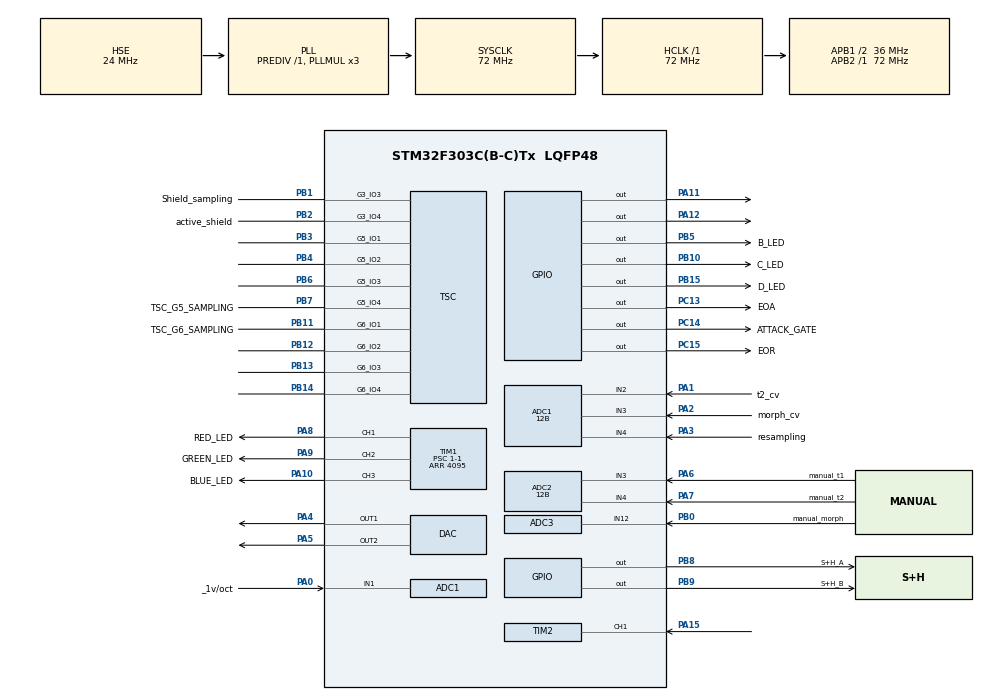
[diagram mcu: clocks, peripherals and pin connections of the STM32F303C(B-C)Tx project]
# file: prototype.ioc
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ADC1.Channel-0\#ChannelRegularConversion=ADC_CHANNEL_1
ADC1.Channel-1\#ChannelRegularConversion=ADC_CHANNEL_2
ADC1.Channel-2\#ChannelRegularConversion=ADC_CHANNEL_3
ADC1.Channel-4\#ChannelRegularConversion=ADC_CHANNEL_4
ADC1.ClockPrescaler=ADC_CLOCK_ASYNC_DIV1
ADC1.ContinuousConvMode=ENABLE
ADC1.DMAContinuousRequests=ENABLE
ADC1.DataAlign=ADC_DATAALIGN_RIGHT
ADC1.DiscontinuousConvMode=DISABLE
ADC1.EOCSelection=ADC_EOC_SEQ_CONV
ADC1.EnableAnalogWatchDog1=false
ADC1.EnableAnalogWatchDog2=false
ADC1.EnableAnalogWatchDog3=false
ADC1.EnableInjectedConversion=DISABLE
ADC1.EnableRegularConversion=ENABLE
ADC1.ExternalTrigConv=ADC_SOFTWARE_START
ADC1.ExternalTrigConvEdge=ADC_EXTERNALTRIGCONVEDGE_NONE
ADC1.LowPowerAutoWait=DISABLE
ADC1.NbrOfConversion=4
ADC1.NbrOfConversionFlag=1
ADC1.Offset-0\#ChannelRegularConversion=0
ADC1.Offset-1\#ChannelRegularConversion=0
ADC1.Offset-2\#ChannelRegularConversion=0
ADC1.Offset-4\#ChannelRegularConversion=0
ADC1.OffsetNumber-0\#ChannelRegularConversion=ADC_OFFSET_NONE
ADC1.OffsetNumber-1\#ChannelRegularConversion=ADC_OFFSET_NONE
ADC1.OffsetNumber-2\#ChannelRegularConversion=ADC_OFFSET_NONE
ADC1.OffsetNumber-4\#ChannelRegularConversion=ADC_OFFSET_NONE
ADC1.Overrun=ADC_OVR_DATA_OVERWRITTEN
ADC1.Rank-0\#ChannelRegularConversion=1
ADC1.Rank-1\#ChannelRegularConversion=2
ADC1.Rank-2\#ChannelRegularConversion=3
ADC1.Rank-4\#ChannelRegularConversion=4
ADC1.Resolution=ADC_RESOLUTION_12B
ADC1.SamplingTime-0\#ChannelRegularConversion=ADC_SAMPLETIME_181CYCLES_5
ADC1.SamplingTime-1\#ChannelRegularConversion=ADC_SAMPLETIME_181CYCLES_5
ADC1.SamplingTime-2\#ChannelRegularConversion=ADC_SAMPLETIME_181CYCLES_5
ADC1.SamplingTime-4\#ChannelRegularConversion=ADC_SAMPLETIME_181CYCLES_5
ADC1.ScanConvMode=ADC_SCAN_ENABLE
ADC1.master=1
ADC2.Channel-0\#ChannelRegularConversion=ADC_CHANNEL_3
ADC2.Channel-1\#ChannelRegularConversion=ADC_CHANNEL_4
ADC2.ClockPrescaler=ADC_CLOCK_ASYNC_DIV1
ADC2.ContinuousConvMode=ENABLE
ADC2.DMAContinuousRequests=ENABLE
ADC2.DataAlign=ADC_DATAALIGN_RIGHT
ADC2.DiscontinuousConvMode=DISABLE
ADC2.EOCSelection=ADC_EOC_SEQ_CONV
ADC2.EnableAnalogWatchDog1=false
ADC2.EnableAnalogWatchDog2=false
ADC2.EnableAnalogWatchDog3=false
ADC2.EnableInjectedConversion=ENABLE
ADC2.EnableRegularConversion=ENABLE
ADC2.ExternalTrigConv=ADC_SOFTWARE_START
ADC2.ExternalTrigConvEdge=ADC_EXTERNALTRIGCONVEDGE_NONE
ADC2.InjNumberOfConversion=0
ADC2.LowPowerAutoWait=DISABLE
ADC2.NbrOfConversion=2
ADC2.NbrOfConversionFlag=1
ADC2.Offset-0\#ChannelRegularConversion=0
ADC2.Offset-1\#ChannelRegularConversion=0
ADC2.OffsetNumber-0\#ChannelRegularConversion=ADC_OFFSET_NONE
ADC2.OffsetNumber-1\#ChannelRegularConversion=ADC_OFFSET_1
ADC2.Overrun=ADC_OVR_DATA_OVERWRITTEN
ADC2.Rank-0\#ChannelRegularConversion=1
ADC2.Rank-1\#ChannelRegularConversion=2
ADC2.Resolution=ADC_RESOLUTION_12B
ADC2.SamplingTime-0\#ChannelRegularConversion=ADC_SAMPLETIME_61CYCLES_5
ADC2.SamplingTime-1\#ChannelRegularConversion=ADC_SAMPLETIME_61CYCLES_5
ADC2.ScanConvMode=ADC_SCAN_ENABLE
ADC3.Channel-106\#ChannelRegularConversion=ADC_CHANNEL_12
ADC3.ClockPrescaler=ADC_CLOCK_ASYNC_DIV1
ADC3.ContinuousConvMode=ENABLE
ADC3.DMAContinuousRequests=ENABLE
ADC3.DataAlign=ADC_DATAALIGN_RIGHT
ADC3.DiscontinuousConvMode=DISABLE
ADC3.EOCSelection=ADC_EOC_SINGLE_CONV
ADC3.EnableAnalogWatchDog1=false
ADC3.EnableAnalogWatchDog2=false
ADC3.EnableAnalogWatchDog3=false
ADC3.EnableInjectedConversion=DISABLE
ADC3.EnableRegularConversion=ENABLE
ADC3.ExternalTrigConv=ADC_SOFTWARE_START
ADC3.ExternalTrigConvEdge=ADC_EXTERNALTRIGCONVEDGE_NONE
ADC3.LowPowerAutoWait=DISABLE
ADC3.NbrOfConversion=1
ADC3.NbrOfConversionFlag=1
ADC3.Offset-106\#ChannelRegularConversion=0
ADC3.OffsetNumber-106\#ChannelRegularConversion=ADC_OFFSET_NONE
ADC3.Overrun=ADC_OVR_DATA_OVERWRITTEN
ADC3.Rank-106\#ChannelRegularConversion=1
ADC3.Resolution=ADC_RESOLUTION_12B
ADC3.SamplingTime-106\#ChannelRegularConversion=ADC_SAMPLETIME_61CYCLES_5
ADC3.ScanConvMode=ADC_SCAN_DISABLE
ADC3.master=1
DAC.DAC_OutputBuffer=DAC_OUTPUTBUFFER_DISABLE
DAC.DAC_OutputBuffer2=DAC_OUTPUTBUFFER_DISABLE
DAC.DAC_Trigger=DAC_TRIGGER_T6_TRGO
DAC.DAC_Trigger2=DAC_TRIGGER_T6_TRGO
Dma.ADC1.2.Direction=DMA_PERIPH_TO_MEMORY
Dma.ADC1.2.Instance=DMA1_Channel1
Dma.ADC1.2.MemDataAlignment=DMA_MDATAALIGN_WORD
Dma.ADC1.2.MemInc=DMA_MINC_ENABLE
Dma.ADC1.2.Mode=DMA_CIRCULAR
Dma.ADC1.2.PeriphDataAlignment=DMA_PDATAALIGN_WORD
Dma.ADC1.2.PeriphInc=DMA_PINC_DISABLE
Dma.ADC1.2.Priority=DMA_PRIORITY_LOW
Dma.ADC2.0.Direction=DMA_PERIPH_TO_MEMORY
Dma.ADC2.0.Instance=DMA2_Channel1
Dma.ADC2.0.MemDataAlignment=DMA_MDATAALIGN_WORD
Dma.ADC2.0.MemInc=DMA_MINC_ENABLE
Dma.ADC2.0.Mode=DMA_CIRCULAR
Dma.ADC2.0.PeriphDataAlignment=DMA_PDATAALIGN_WORD
Dma.ADC2.0.PeriphInc=DMA_PINC_DISABLE
Dma.ADC2.0.Priority=DMA_PRIORITY_HIGH
Dma.ADC3.1.Direction=DMA_PERIPH_TO_MEMORY
Dma.ADC3.1.Instance=DMA2_Channel5
Dma.ADC3.1.MemDataAlignment=DMA_MDATAALIGN_WORD
Dma.ADC3.1.MemInc=DMA_MINC_ENABLE
Dma.ADC3.1.Mode=DMA_CIRCULAR
Dma.ADC3.1.PeriphDataAlignment=DMA_PDATAALIGN_WORD
Dma.ADC3.1.PeriphInc=DMA_PINC_DISABLE
Dma.ADC3.1.Priority=DMA_PRIORITY_HIGH
Dma.Request0=ADC2
Dma.Request1=ADC3
Dma.Request2=ADC1
Mcu.Family=STM32F3
Mcu.Name=STM32F303C(B-C)Tx
Mcu.Package=LQFP48
NVIC.DMA1_Channel1_IRQn=true\:2\:1\:true\:false\:true
NVIC.DMA2_Channel1_IRQn=true\:3\:0\:true\:false\:true
NVIC.DMA2_Channel5_IRQn=true\:2\:0\:true\:false\:true
NVIC.PriorityGroup=NVIC_PRIORITYGROUP_3
NVIC.TIM1_BRK_TIM15_IRQn=true\:0\:0\:false\:false\:true
NVIC.TIM2_IRQn=true\:0\:1\:false\:false\:true
NVIC.TIM3_IRQn=true\:0\:1\:false\:false\:true
NVIC.TIM6_DAC_IRQn=true\:0\:0\:true\:false\:true
NVIC.TIM7_IRQn=true\:0\:0\:false\:false\:true
NVIC.TIM8_UP_IRQn=true\:0\:1\:false\:false\:true
PA0.GPIO_Label=_1v/oct
PA0.Mode=IN1-Single-Ended
PA0.Signal=ADC1_IN1
PA1.GPIO_Label=t2_cv
PA1.Mode=IN2-Single-Ended
PA1.Signal=ADC1_IN2
PA10.GPIO_Label=BLUE_LED
PA10.Signal=S_TIM1_CH3
PA11.Signal=GPIO_Output
PA12.Signal=GPIO_Output
PA13.Signal=SYS_JTMS-SWDIO
PA14.Signal=SYS_JTCK-SWCLK
PA15.Signal=S_TIM2_CH1_ETR
PA2.GPIO_Label=morph_cv
PA2.Mode=IN3-Single-Ended
PA2.Signal=ADC1_IN3
PA3.GPIO_Label=resampling
PA3.Mode=IN4-Single-Ended
PA3.Signal=ADC1_IN4
PA4.GPIO_Mode=GPIO_MODE_ANALOG
PA4.Signal=COMP_DAC1_group
PA5.Signal=COMP_DAC2_group
PA6.GPIO_Label=manual_t1
PA6.Mode=IN3-Single-Ended
PA6.Signal=ADC2_IN3
PA7.GPIO_Label=manual_t2
PA7.Mode=IN4-Single-Ended
PA7.Signal=ADC2_IN4
PA8.GPIO_Label=RED_LED
PA8.Signal=S_TIM1_CH1
PA9.GPIO_Label=GREEN_LED
PA9.Signal=S_TIM1_CH2
PB0.GPIO_Label=manual_morph
PB0.Mode=IN12-Single-Ended
PB0.Signal=ADC3_IN12
PB1.GPIO_Label=Shield_sampling
PB1.Mode=G3_IO3-Sampling
PB1.Signal=TSC_G3_IO3
PB10.GPIO_Label=C_LED
PB10.Signal=GPIO_Output
PB11.GPIO_Label=TSC_G6_SAMPLING
PB11.Mode=G6_IO1-Sampling
PB11.Signal=TSC_G6_IO1
PB12.Mode=G6_IO2-Channel
PB12.Signal=TSC_G6_IO2
PB13.Mode=G6_IO3-Channel
PB13.Signal=TSC_G6_IO3
PB14.Mode=G6_IO4-Channel
PB14.Signal=TSC_G6_IO4
PB15.GPIO_Label=D_LED
PB15.Signal=GPIO_Output
PB2.GPIO_Label=active_shield
PB2.Mode=G3_IO4-Shield
PB2.Signal=TSC_G3_IO4
PB3.Mode=G5_IO1-Channel
PB3.Signal=TSC_G5_IO1
PB4.Mode=G5_IO2-Channel
PB4.Signal=TSC_G5_IO2
PB5.GPIO_Label=B_LED
PB5.Signal=GPIO_Output
PB6.Mode=G5_IO3-Channel
PB6.Signal=TSC_G5_IO3
PB7.GPIO_Label=TSC_G5_SAMPLING
PB7.Mode=G5_IO4-Sampling
PB7.Signal=TSC_G5_IO4
PB8.GPIO_Label=S+H_A
PB8.Signal=GPIO_Output
PB9.GPIO_Label=S+H_B
PB9.Signal=GPIO_Output
PC13.GPIO_Label=EOA
PC13.Signal=GPIO_Output
PC14-OSC32_IN.GPIO_Label=ATTACK_GATE
PC14-OSC32_IN.Signal=GPIO_Output
PC15-OSC32_OUT.GPIO_Label=EOR
PC15-OSC32_OUT.Signal=GPIO_Output
PF0-OSC_IN.Mode=HSE-External-Oscillator
PF0-OSC_IN.Signal=RCC_OSC_IN
PF1-OSC_OUT.Mode=HSE-External-Oscillator
PF1-OSC_OUT.Signal=RCC_OSC_OUT
ProjectManager.HeapSize=0x200
ProjectManager.StackSize=0x400
ProjectManager.TargetToolchain=SW4STM32
RCC.ADC12PRES=RCC_ADC12PLLCLK_DIV8
RCC.ADC34PRES=RCC_ADC34PLLCLK_DIV16
RCC.AHBFreq_Value=72000000
RCC.APB1CLKDivider=RCC_HCLK_DIV2
RCC.APB1Freq_Value=36000000
RCC.APB1TimFreq_Value=72000000
RCC.APB2Freq_Value=72000000
RCC.APB2TimFreq_Value=72000000
RCC.CortexFreq_Value=72000000
RCC.HCLKFreq_Value=72000000
RCC.HSE_VALUE=24000000
RCC.HSI_VALUE=8000000
RCC.LSE_VALUE=32768
RCC.PLLMUL=RCC_PLL_MUL3
RCC.PLLSourceVirtual=RCC_PLLSOURCE_HSE
RCC.PRESCALERUSB=RCC_USBCLKSOURCE_PLL_DIV1_5
RCC.SYSCLKFreq_VALUE=72000000
RCC.SYSCLKSourceVirtual=RCC_SYSCLKSOURCE_PLLCLK
RCC.USBFreq_Value=48000000
SH.COMP_DAC1_group.0=DAC_OUT1,DAC_OUT1
SH.COMP_DAC2_group.0=DAC_OUT2,Enable_DAC_OUT2
SH.S_TIM1_CH1.0=TIM1_CH1,PWM Generation1 CH1
SH.S_TIM1_CH2.0=TIM1_CH2,PWM Generation2 CH2
SH.S_TIM1_CH3.0=TIM1_CH3,PWM Generation3 CH3
SH.S_TIM2_CH1_ETR.0=TIM2_CH1,Input_Capture1_from_TI1
TIM1.Channel-PWM\ Generation1\ CH1=TIM_CHANNEL_1
TIM1.Channel-PWM\ Generation2\ CH2=TIM_CHANNEL_2
TIM1.Channel-PWM\ Generation3\ CH3=TIM_CHANNEL_3
TIM1.Period=4095
TIM1.Prescaler=1-1
TIM15.Period=3084
TIM15.Prescaler=1000-1
TIM15.TIM_MasterOutputTrigger=TIM_TRGO_UPDATE
TIM2.Channel-Input_Capture1_from_TI1=TIM_CHANNEL_1
TIM2.ICPolarity_CH1=TIM_INPUTCHANNELPOLARITY_BOTHEDGE
TIM3.CounterMode=TIM_COUNTERMODE_DOWN
TIM3.Period=65535
TIM3.Prescaler=1000-1
TIM3.TIM_MasterOutputTrigger=TIM_TRGO_UPDATE
TIM4.Period=10000
TIM4.Prescaler=10000
TIM6.Period=1200
TIM6.Prescaler=1-1
TIM6.TIM_MasterOutputTrigger=TIM_TRGO_UPDATE
TIM7.Period=5000
TIM7.Prescaler=1
TIM7.TIM_MasterOutputTrigger=TIM_TRGO_UPDATE
TIM8.Period=5000
TIM8.Prescaler=1-1
TSC.CTPulseHighLength=TSC_CTPH_2CYCLES
TSC.CTPulseLowLength=TSC_CTPL_2CYCLES
TSC.ChannelIOs-G5_IO1=TSC_GROUP5_IO1
TSC.ChannelIOs-G5_IO2=TSC_GROUP5_IO2
TSC.ChannelIOs-G5_IO3=TSC_GROUP5_IO3
TSC.ChannelIOs-G6_IO2=TSC_GROUP6_IO2
TSC.ChannelIOs-G6_IO3=TSC_GROUP6_IO3
TSC.ChannelIOs-G6_IO4=TSC_GROUP6_IO4
TSC.IODefaultMode=TSC_IODEF_IN_FLOAT
TSC.MaxCountValue=TSC_MCV_16383
TSC.PulseGeneratorPrescaler=TSC_PG_PRESC_DIV32
TSC.SamplingIOs-G3_IO3=TSC_GROUP3_IO3
TSC.SamplingIOs-G5_IO4=TSC_GROUP5_IO4
TSC.SamplingIOs-G6_IO1=TSC_GROUP6_IO1
TSC.ShieldIOs-G3_IO4=TSC_GROUP3_IO4
VP_TIM15_VS_ClockSourceINT.Mode=Internal
VP_TIM3_VS_ClockSourceINT.Mode=Internal
VP_TIM4_VS_ClockSourceINT.Mode=Internal
VP_TIM6_VS_ClockSourceINT.Mode=Enable_Timer
VP_TIM7_VS_ClockSourceINT.Mode=Enable_Timer
VP_TIM8_VS_ClockSourceINT.Mode=Internal
board=prototype

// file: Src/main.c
/**
 ******************************************************************************
 * File Name          : main.c
 * Description        : Main program body
 ******************************************************************************
 ** This notice applies to any and all portions of this file
 * that are not between comment pairs USER CODE BEGIN and
 * USER CODE END. Other portions of this file, whether
 * inserted by the user or by software development tools
 * are owned by their respective copyright owners.
 *
 * COPYRIGHT(c) 2017 STMicroelectronics
 *
 * Redistribution and use in source and binary forms, with or without modification,
 * are permitted provided that the following conditions are met:
 *   1. Redistributions of source code must retain the above copyright notice,
 *      this list of conditions and the following disclaimer.
 *   2. Redistributions in binary form must reproduce the above copyright notice,
 *      this list of conditions and the following disclaimer in the documentation
 *      and/or other materials provided with the distribution.
 *   3. Neither the name of STMicroelectronics nor the names of its contributors
 *      may be used to endorse or promote products derived from this software
 *      without specific prior written permission.
 *
 * THIS SOFTWARE IS PROVIDED BY THE COPYRIGHT HOLDERS AND CONTRIBUTORS "AS IS"
 * AND ANY EXPRESS OR IMPLIED WARRANTIES, INCLUDING, BUT NOT LIMITED TO, THE
 * IMPLIED WARRANTIES OF MERCHANTABILITY AND FITNESS FOR A PARTICULAR PURPOSE ARE
 * DISCLAIMED. IN NO EVENT SHALL THE COPYRIGHT HOLDER OR CONTRIBUTORS BE LIABLE
 * FOR ANY DIRECT, INDIRECT, INCIDENTAL, SPECIAL, EXEMPLARY, OR CONSEQUENTIAL
 * DAMAGES (INCLUDING, BUT NOT LIMITED TO, PROCUREMENT OF SUBSTITUTE GOODS OR
 * SERVICES; LOSS OF USE, DATA, OR PROFITS; OR BUSINESS INTERRUPTION) HOWEVER
 * CAUSED AND ON ANY THEORY OF LIABILITY, WHETHER IN CONTRACT, STRICT LIABILITY,
 * OR TORT (INCLUDING NEGLIGENCE OR OTHERWISE) ARISING IN ANY WAY OUT OF THE USE
 * OF THIS SOFTWARE, EVEN IF ADVISED OF THE POSSIBILITY OF SUCH DAMAGE.
 *
 ******************************************************************************
 */
#include "main.h"
#include "stm32f3xx_hal.h"

/* USER CODE BEGIN Includes */

#include "interrupt_functions.h"
#include "tables.h"
#include "tsl_user.h"
#include "eeprom.h"

/* USER CODE END Includes */

ADC_HandleTypeDef hadc1;
ADC_HandleTypeDef hadc2;
ADC_HandleTypeDef hadc3;
DMA_HandleTypeDef hdma_adc1;
DMA_HandleTypeDef hdma_adc2;
DMA_HandleTypeDef hdma_adc3;

DAC_HandleTypeDef hdac;

TIM_HandleTypeDef htim1;
TIM_HandleTypeDef htim2;
TIM_HandleTypeDef htim3;
TIM_HandleTypeDef htim4;
TIM_HandleTypeDef htim6;
TIM_HandleTypeDef htim7;
TIM_HandleTypeDef htim8;
TIM_HandleTypeDef htim15;

TSC_HandleTypeDef htsc;

/* USER CODE BEGIN PV */
/* Private variables ---------------------------------------------------------*/

// this is part of the user code needed to run the STM32 touch sense library
tsl_user_status_t tsl_status;

//declare the enums for use with the state restore function
enum speedTypes speed;
enum loopTypes loop;
enum trigModeTypes trigMode;
enum sampleHoldModeTypes sampleHoldMode;
enum logicOutATypes logicOutA;
enum logicOutBTypes logicOutB;

//these are the UI variables that we need in our main loop
uint32_t modeflag;
uint32_t detectOn;
uint32_t displayNewMode;

uint16_t VirtAddVarTab[NB_OF_VAR] = {0x5555};
uint16_t VarDataTab[NB_OF_VAR] = {0};

int holdCalibration;

// initialize the arrays that will be used by DMA to store our Knob and CV values
extern uint32_t ADCReadings1[4];
extern uint32_t ADCReadings2[2];
extern uint32_t ADCReadings3[1];

/* USER CODE END PV */

void SystemClock_Config(void);
static void MX_GPIO_Init(void);
static void MX_DMA_Init(void);
static void MX_ADC1_Init(void);
static void MX_ADC2_Init(void);
static void MX_ADC3_Init(void);
static void MX_DAC_Init(void);
static void MX_TIM1_Init(void);
static void MX_TSC_Init(void);
static void MX_TIM2_Init(void);
static void MX_TIM6_Init(void);
static void MX_TIM7_Init(void);
static void MX_TIM8_Init(void);
static void MX_TIM4_Init(void);
static void MX_TIM3_Init(void);
static void MX_TIM15_Init(void);

void HAL_TIM_MspPostInit(TIM_HandleTypeDef *htim);

/* USER CODE BEGIN PFP */
/* Private function prototypes -----------------------------------------------*/

/* USER CODE END PFP */

int main(void) {

	/* MCU Configuration----------------------------------------------------------*/

	/* Reset of all peripherals, Initializes the Flash interface and the Systick. */
	HAL_Init();

	/* Configure the system clock */
	SystemClock_Config();

	/* Initialize all configured peripherals */
	MX_GPIO_Init();
	MX_DMA_Init();
	MX_ADC1_Init();
	MX_ADC2_Init();
	MX_ADC3_Init();
	MX_DAC_Init();
	MX_TIM1_Init();
	MX_TSC_Init();
	MX_TIM2_Init();
	MX_TIM6_Init();
	MX_TIM7_Init();
	MX_TIM8_Init();
	MX_TIM4_Init();
	MX_TIM3_Init();
	MX_TIM15_Init();

	/* USER CODE BEGIN 2 */

	attackHoldArray[17][129] = (int *)malloc(sizeof(uint16_t) * 17 * 129);  // allocate memory (size of data * length of table * num of tables)
	releaseHoldArray[17][129] = (int *)malloc(sizeof(uint16_t) * 17 * 129);

	fillFamilyArray();

	// declare the initialization state

	SET_RGB_ON;

	((*(volatile uint32_t *) DAC1_ADDR) = (4095));
	((*(volatile uint32_t *) DAC2_ADDR) = (0));

	// set the priority and enable an interrupt line to be used by our phase state change interrupt
	HAL_NVIC_SetPriority(EXTI15_10_IRQn, 1, 0);
	HAL_NVIC_EnableIRQ(EXTI15_10_IRQn);

	HAL_ADCEx_Calibration_Start(&hadc1, ADC_SINGLE_ENDED);
	HAL_ADCEx_Calibration_Start(&hadc2, ADC_SINGLE_ENDED);
	HAL_ADCEx_Calibration_Start(&hadc3, ADC_SINGLE_ENDED);

	//initialize our ADCs and their respective DMA arrays
	HAL_ADC_Start_DMA(&hadc1, ADCReadings1, 4);
	HAL_ADC_Start_DMA(&hadc2, ADCReadings2, 2);
	HAL_ADC_Start_DMA(&hadc3, ADCReadings3, 1);

	//initialize the timer that is used to detect our triggers
	HAL_TIM_IC_Start_IT(&htim2, TIM_CHANNEL_1);

	//initialize the timer that is used for touch sensor press timeout
	HAL_TIM_Base_Start(&htim4);

	// intitialize the timer that runs the PWM for our RGB led
	HAL_TIM_Base_Start(&htim1);
	HAL_TIM_PWM_Start(&htim1, TIM_CHANNEL_1);
	HAL_TIM_PWM_Start(&htim1, TIM_CHANNEL_2);
	HAL_TIM_PWM_Start(&htim1, TIM_CHANNEL_3);

	//initialize our dac
	HAL_DAC_Start(&hdac, DAC_CHANNEL_1);
	HAL_DAC_Start(&hdac, DAC_CHANNEL_2);

	// initialize our touch sensors
	tsl_user_Init();

	//enable our S&H resampling interrupts
	__HAL_TIM_ENABLE_IT(&htim7, TIM_IT_UPDATE);
	__HAL_TIM_ENABLE_IT(&htim8, TIM_IT_UPDATE);

	//enable our trigger interrupt
	__HAL_TIM_ENABLE_IT(&htim15, TIM_IT_UPDATE);

	//enable our drum envelope interrupt
	__HAL_TIM_ENABLE_IT(&htim3, TIM_IT_UPDATE);

	//start our DAC time base
	HAL_TIM_Base_Start_IT(&htim6);

	//initialize our sample and holds to track
	//we must do this after the resampling interrupts have been enabled
	SH_A_TRACK
	SH_B_TRACK

	incSign = 1;

	HAL_FLASH_Unlock();

	ee_status = EE_Init();
	if( ee_status != EE_OK) {LEDC_ON}
	HAL_Delay(500);

	restoreState();

	/* USER CODE END 2 */

	/* Infinite loop */
	/* USER CODE BEGIN WHILE */
	while (1) {

		//check if the trigger button has been pressed
		if (((GPIOA->IDR & GPIO_PIN_13) == (uint32_t) GPIO_PIN_RESET)){
			//if we havent raised the trigger button flag, do so and set a pending interrupt
			if (!(TRIGGER_BUTTON)) {
				SET_TRIGGER_BUTTON;
				HAL_NVIC_SetPendingIRQ(TIM2_IRQn);
			}
		}
		//if the trigger button has been released but the trigger button flag is still high, lower it and set an IRQ
		else if (TRIGGER_BUTTON){
			CLEAR_TRIGGER_BUTTON;
			HAL_NVIC_SetPendingIRQ(TIM2_IRQn);
		}

		// run the state machine that gets us a reading on our touch sensors
		tsl_status = tsl_user_Exec();

		// if we have completed our touch sensor aquisitions
		if (tsl_status != TSL_USER_STATUS_BUSY) {

			// if no sensors were touched the last time we ran the state machine
			if (detectOn == 0) {
				// check to see if any are in detect state
				readDetect();
			} else {
				// check to see if we have released the sensor
				readRelease(modeflag);
			}

		}

		if (displayNewMode == 1) {
			//this turns our runtime display back on if we were just showing a mode change
			restoreDisplay();
		}

		/* USER CODE END WHILE */

	}

}

/** System Clock Configuration
 */
void SystemClock_Config(void) {

	RCC_OscInitTypeDef RCC_OscInitStruct;
	RCC_ClkInitTypeDef RCC_ClkInitStruct;
	RCC_PeriphCLKInitTypeDef PeriphClkInit;

	/**Initializes the CPU, AHB and APB busses clocks
	 */
	RCC_OscInitStruct.OscillatorType = RCC_OSCILLATORTYPE_HSE;
	RCC_OscInitStruct.HSEState = RCC_HSE_ON;
	RCC_OscInitStruct.HSEPredivValue = RCC_HSE_PREDIV_DIV1;
	RCC_OscInitStruct.HSIState = RCC_HSI_ON;
	RCC_OscInitStruct.PLL.PLLState = RCC_PLL_ON;
	RCC_OscInitStruct.PLL.PLLSource = RCC_PLLSOURCE_HSE;
	RCC_OscInitStruct.PLL.PLLMUL = RCC_PLL_MUL3;
	if (HAL_RCC_OscConfig(&RCC_OscInitStruct) != HAL_OK) {
		_Error_Handler(__FILE__, __LINE__);
	}

	/**Initializes the CPU, AHB and APB busses clocks
	 */
	RCC_ClkInitStruct.ClockType = RCC_CLOCKTYPE_HCLK | RCC_CLOCKTYPE_SYSCLK
			| RCC_CLOCKTYPE_PCLK1 | RCC_CLOCKTYPE_PCLK2;
	RCC_ClkInitStruct.SYSCLKSource = RCC_SYSCLKSOURCE_PLLCLK;
	RCC_ClkInitStruct.AHBCLKDivider = RCC_SYSCLK_DIV1;
	RCC_ClkInitStruct.APB1CLKDivider = RCC_HCLK_DIV2;
	RCC_ClkInitStruct.APB2CLKDivider = RCC_HCLK_DIV1;

	if (HAL_RCC_ClockConfig(&RCC_ClkInitStruct, FLASH_LATENCY_2) != HAL_OK) {
		_Error_Handler(__FILE__, __LINE__);
	}

	PeriphClkInit.PeriphClockSelection = RCC_PERIPHCLK_TIM1 | RCC_PERIPHCLK_TIM8
			| RCC_PERIPHCLK_ADC12 | RCC_PERIPHCLK_ADC34;
	PeriphClkInit.Adc12ClockSelection = RCC_ADC12PLLCLK_DIV2;
	PeriphClkInit.Adc34ClockSelection = RCC_ADC34PLLCLK_DIV128;
	PeriphClkInit.Tim1ClockSelection = RCC_TIM1CLK_HCLK;
	PeriphClkInit.Tim8ClockSelection = RCC_TIM8CLK_HCLK;
	if (HAL_RCCEx_PeriphCLKConfig(&PeriphClkInit) != HAL_OK) {
		_Error_Handler(__FILE__, __LINE__);
	}

	/**Configure the Systick interrupt time
	 */
	HAL_SYSTICK_Config(HAL_RCC_GetHCLKFreq() / 1000);

	/**Configure the Systick
	 */
	HAL_SYSTICK_CLKSourceConfig(SYSTICK_CLKSOURCE_HCLK);

	/* SysTick_IRQn interrupt configuration */
	HAL_NVIC_SetPriority(SysTick_IRQn, 0, 0);
}

/* ADC1 init function */
static void MX_ADC1_Init(void) {

	ADC_MultiModeTypeDef multimode;
	ADC_ChannelConfTypeDef sConfig;

	/**Common config
	 */
	hadc1.Instance = ADC1;
	hadc1.Init.ClockPrescaler = ADC_CLOCK_ASYNC_DIV1;
	hadc1.Init.Resolution = ADC_RESOLUTION_12B;
	hadc1.Init.ScanConvMode = ADC_SCAN_ENABLE;
	hadc1.Init.ContinuousConvMode = ENABLE;
	hadc1.Init.DiscontinuousConvMode = DISABLE;
	hadc1.Init.ExternalTrigConvEdge = ADC_EXTERNALTRIGCONVEDGE_NONE;
	hadc1.Init.ExternalTrigConv = ADC_SOFTWARE_START;
	hadc1.Init.DataAlign = ADC_DATAALIGN_RIGHT;
	hadc1.Init.NbrOfConversion = 4;
	hadc1.Init.DMAContinuousRequests = ENABLE;
	hadc1.Init.EOCSelection = ADC_EOC_SEQ_CONV;
	hadc1.Init.LowPowerAutoWait = DISABLE;
	hadc1.Init.Overrun = ADC_OVR_DATA_OVERWRITTEN;
	if (HAL_ADC_Init(&hadc1) != HAL_OK) {
		_Error_Handler(__FILE__, __LINE__);
	}

	/**Configure the ADC multi-mode
	 */
	multimode.Mode = ADC_MODE_INDEPENDENT;
	if (HAL_ADCEx_MultiModeConfigChannel(&hadc1, &multimode) != HAL_OK) {
		_Error_Handler(__FILE__, __LINE__);
	}

	/**Configure Regular Channel
	 */
	sConfig.Channel = ADC_CHANNEL_1;
	sConfig.Rank = 1;
	sConfig.SingleDiff = ADC_SINGLE_ENDED;
	sConfig.SamplingTime = ADC_SAMPLETIME_181CYCLES_5;
	sConfig.OffsetNumber = ADC_OFFSET_NONE;
	sConfig.Offset = 0;
	if (HAL_ADC_ConfigChannel(&hadc1, &sConfig) != HAL_OK) {
		_Error_Handler(__FILE__, __LINE__);
	}

	/**Configure Regular Channel
	 */
	sConfig.Channel = ADC_CHANNEL_2;
	sConfig.Rank = 2;
	if (HAL_ADC_ConfigChannel(&hadc1, &sConfig) != HAL_OK) {
		_Error_Handler(__FILE__, __LINE__);
	}

	/**Configure Regular Channel
	 */
	sConfig.Channel = ADC_CHANNEL_3;
	sConfig.Rank = 3;
	if (HAL_ADC_ConfigChannel(&hadc1, &sConfig) != HAL_OK) {
		_Error_Handler(__FILE__, __LINE__);
	}

	/**Configure Regular Channel
	 */
	sConfig.Channel = ADC_CHANNEL_4;
	sConfig.Rank = 4;
	if (HAL_ADC_ConfigChannel(&hadc1, &sConfig) != HAL_OK) {
		_Error_Handler(__FILE__, __LINE__);
	}

}

/* ADC2 init function */
static void MX_ADC2_Init(void) {

	ADC_ChannelConfTypeDef sConfig;

	/**Common config
	 */
	hadc2.Instance = ADC2;
	hadc2.Init.ClockPrescaler = ADC_CLOCK_ASYNC_DIV1;
	hadc2.Init.Resolution = ADC_RESOLUTION_12B;
	hadc2.Init.ScanConvMode = ADC_SCAN_ENABLE;
	hadc2.Init.ContinuousConvMode = ENABLE;
	hadc2.Init.DiscontinuousConvMode = DISABLE;
	hadc2.Init.ExternalTrigConvEdge = ADC_EXTERNALTRIGCONVEDGE_NONE;
	hadc2.Init.ExternalTrigConv = ADC_SOFTWARE_START;
	hadc2.Init.DataAlign = ADC_DATAALIGN_RIGHT;
	hadc2.Init.NbrOfConversion = 2;
	hadc2.Init.DMAContinuousRequests = ENABLE;
	hadc2.Init.EOCSelection = ADC_EOC_SEQ_CONV;
	hadc2.Init.LowPowerAutoWait = DISABLE;
	hadc2.Init.Overrun = ADC_OVR_DATA_OVERWRITTEN;
	if (HAL_ADC_Init(&hadc2) != HAL_OK) {
		_Error_Handler(__FILE__, __LINE__);
	}

	/**Configure Regular Channel
	 */
	sConfig.Channel = ADC_CHANNEL_3;
	sConfig.Rank = 1;
	sConfig.SingleDiff = ADC_SINGLE_ENDED;
	sConfig.SamplingTime = ADC_SAMPLETIME_61CYCLES_5;
	sConfig.OffsetNumber = ADC_OFFSET_NONE;
	sConfig.Offset = 0;
	if (HAL_ADC_ConfigChannel(&hadc2, &sConfig) != HAL_OK) {
		_Error_Handler(__FILE__, __LINE__);
	}

	/**Configure Regular Channel
	 */
	sConfig.Channel = ADC_CHANNEL_4;
	sConfig.Rank = 2;
	sConfig.OffsetNumber = ADC_OFFSET_1;
	if (HAL_ADC_ConfigChannel(&hadc2, &sConfig) != HAL_OK) {
		_Error_Handler(__FILE__, __LINE__);
	}

}

/* ADC3 init function */
static void MX_ADC3_Init(void) {

	ADC_MultiModeTypeDef multimode;
	ADC_ChannelConfTypeDef sConfig;

	/**Common config
	 */
	hadc3.Instance = ADC3;
	hadc3.Init.ClockPrescaler = ADC_CLOCK_ASYNC_DIV1;
	hadc3.Init.Resolution = ADC_RESOLUTION_12B;
	hadc3.Init.ScanConvMode = ADC_SCAN_DISABLE;
	hadc3.Init.ContinuousConvMode = ENABLE;
	hadc3.Init.DiscontinuousConvMode = DISABLE;
	hadc3.Init.ExternalTrigConvEdge = ADC_EXTERNALTRIGCONVEDGE_NONE;
	hadc3.Init.ExternalTrigConv = ADC_SOFTWARE_START;
	hadc3.Init.DataAlign = ADC_DATAALIGN_RIGHT;
	hadc3.Init.NbrOfConversion = 1;
	hadc3.Init.DMAContinuousRequests = ENABLE;
	hadc3.Init.EOCSelection = ADC_EOC_SINGLE_CONV;
	hadc3.Init.LowPowerAutoWait = DISABLE;
	hadc3.Init.Overrun = ADC_OVR_DATA_OVERWRITTEN;
	if (HAL_ADC_Init(&hadc3) != HAL_OK) {
		_Error_Handler(__FILE__, __LINE__);
	}

	/**Configure the ADC multi-mode
	 */
	multimode.Mode = ADC_MODE_INDEPENDENT;
	if (HAL_ADCEx_MultiModeConfigChannel(&hadc3, &multimode) != HAL_OK) {
		_Error_Handler(__FILE__, __LINE__);
	}

	/**Configure Regular Channel
	 */
	sConfig.Channel = ADC_CHANNEL_12;
	sConfig.Rank = 1;
	sConfig.SingleDiff = ADC_SINGLE_ENDED;
	sConfig.SamplingTime = ADC_SAMPLETIME_61CYCLES_5;
	sConfig.OffsetNumber = ADC_OFFSET_NONE;
	sConfig.Offset = 0;
	if (HAL_ADC_ConfigChannel(&hadc3, &sConfig) != HAL_OK) {
		_Error_Handler(__FILE__, __LINE__);
	}

}

/* DAC init function */
static void MX_DAC_Init(void) {

	DAC_ChannelConfTypeDef sConfig;

	/**DAC Initialization
	 */
	hdac.Instance = DAC;
	if (HAL_DAC_Init(&hdac) != HAL_OK) {
		_Error_Handler(__FILE__, __LINE__);
	}

	/**DAC channel OUT1 config
	 */
	sConfig.DAC_Trigger = DAC_TRIGGER_T6_TRGO;
	sConfig.DAC_OutputBuffer = DAC_OUTPUTBUFFER_DISABLE;
	if (HAL_DAC_ConfigChannel(&hdac, &sConfig, DAC_CHANNEL_1) != HAL_OK) {
		_Error_Handler(__FILE__, __LINE__);
	}

	/**DAC channel OUT2 config
	 */
	if (HAL_DAC_ConfigChannel(&hdac, &sConfig, DAC_CHANNEL_2) != HAL_OK) {
		_Error_Handler(__FILE__, __LINE__);
	}

}

/* TIM1 init function */
static void MX_TIM1_Init(void) {

	TIM_MasterConfigTypeDef sMasterConfig;
	TIM_OC_InitTypeDef sConfigOC;
	TIM_BreakDeadTimeConfigTypeDef sBreakDeadTimeConfig;

	htim1.Instance = TIM1;
	htim1.Init.Prescaler = 1 - 1;
	htim1.Init.CounterMode = TIM_COUNTERMODE_UP;
	htim1.Init.Period = 4095;
	htim1.Init.ClockDivision = TIM_CLOCKDIVISION_DIV1;
	htim1.Init.RepetitionCounter = 0;
	htim1.Init.AutoReloadPreload = TIM_AUTORELOAD_PRELOAD_DISABLE;
	if (HAL_TIM_PWM_Init(&htim1) != HAL_OK) {
		_Error_Handler(__FILE__, __LINE__);
	}

	sMasterConfig.MasterOutputTrigger = TIM_TRGO_RESET;
	sMasterConfig.MasterOutputTrigger2 = TIM_TRGO2_RESET;
	sMasterConfig.MasterSlaveMode = TIM_MASTERSLAVEMODE_DISABLE;
	if (HAL_TIMEx_MasterConfigSynchronization(&htim1, &sMasterConfig)
			!= HAL_OK) {
		_Error_Handler(__FILE__, __LINE__);
	}

	sConfigOC.OCMode = TIM_OCMODE_PWM1;
	sConfigOC.Pulse = 0;
	sConfigOC.OCPolarity = TIM_OCPOLARITY_HIGH;
	sConfigOC.OCNPolarity = TIM_OCNPOLARITY_HIGH;
	sConfigOC.OCFastMode = TIM_OCFAST_DISABLE;
	sConfigOC.OCIdleState = TIM_OCIDLESTATE_RESET;
	sConfigOC.OCNIdleState = TIM_OCNIDLESTATE_RESET;
	if (HAL_TIM_PWM_ConfigChannel(&htim1, &sConfigOC, TIM_CHANNEL_1)
			!= HAL_OK) {
		_Error_Handler(__FILE__, __LINE__);
	}

	if (HAL_TIM_PWM_ConfigChannel(&htim1, &sConfigOC, TIM_CHANNEL_2)
			!= HAL_OK) {
		_Error_Handler(__FILE__, __LINE__);
	}

	if (HAL_TIM_PWM_ConfigChannel(&htim1, &sConfigOC, TIM_CHANNEL_3)
			!= HAL_OK) {
		_Error_Handler(__FILE__, __LINE__);
	}

	sBreakDeadTimeConfig.OffStateRunMode = TIM_OSSR_DISABLE;
	sBreakDeadTimeConfig.OffStateIDLEMode = TIM_OSSI_DISABLE;
	sBreakDeadTimeConfig.LockLevel = TIM_LOCKLEVEL_OFF;
	sBreakDeadTimeConfig.DeadTime = 0;
	sBreakDeadTimeConfig.BreakState = TIM_BREAK_DISABLE;
	sBreakDeadTimeConfig.BreakPolarity = TIM_BREAKPOLARITY_HIGH;
	sBreakDeadTimeConfig.BreakFilter = 0;
	sBreakDeadTimeConfig.Break2State = TIM_BREAK2_DISABLE;
	sBreakDeadTimeConfig.Break2Polarity = TIM_BREAK2POLARITY_HIGH;
	sBreakDeadTimeConfig.Break2Filter = 0;
	sBreakDeadTimeConfig.AutomaticOutput = TIM_AUTOMATICOUTPUT_DISABLE;
	if (HAL_TIMEx_ConfigBreakDeadTime(&htim1, &sBreakDeadTimeConfig)
			!= HAL_OK) {
		_Error_Handler(__FILE__, __LINE__);
	}

	HAL_TIM_MspPostInit(&htim1);

}

/* TIM2 init function */
static void MX_TIM2_Init(void) {

	TIM_MasterConfigTypeDef sMasterConfig;
	TIM_IC_InitTypeDef sConfigIC;

	htim2.Instance = TIM2;
	htim2.Init.Prescaler = 0;
	htim2.Init.CounterMode = TIM_COUNTERMODE_UP;
	htim2.Init.Period = 0;
	htim2.Init.ClockDivision = TIM_CLOCKDIVISION_DIV1;
	htim2.Init.AutoReloadPreload = TIM_AUTORELOAD_PRELOAD_DISABLE;
	if (HAL_TIM_IC_Init(&htim2) != HAL_OK) {
		_Error_Handler(__FILE__, __LINE__);
	}

	sMasterConfig.MasterOutputTrigger = TIM_TRGO_RESET;
	sMasterConfig.MasterSlaveMode = TIM_MASTERSLAVEMODE_DISABLE;
	if (HAL_TIMEx_MasterConfigSynchronization(&htim2, &sMasterConfig)
			!= HAL_OK) {
		_Error_Handler(__FILE__, __LINE__);
	}

	sConfigIC.ICPolarity = TIM_INPUTCHANNELPOLARITY_BOTHEDGE;
	sConfigIC.ICSelection = TIM_ICSELECTION_DIRECTTI;
	sConfigIC.ICPrescaler = TIM_ICPSC_DIV1;
	sConfigIC.ICFilter = 0;
	if (HAL_TIM_IC_ConfigChannel(&htim2, &sConfigIC, TIM_CHANNEL_1) != HAL_OK) {
		_Error_Handler(__FILE__, __LINE__);
	}

}

/* TIM3 init function */
static void MX_TIM3_Init(void) {

	TIM_ClockConfigTypeDef sClockSourceConfig;
	TIM_MasterConfigTypeDef sMasterConfig;

	htim3.Instance = TIM3;
	htim3.Init.Prescaler = 10000 - 1;
	htim3.Init.CounterMode = TIM_COUNTERMODE_DOWN;
	htim3.Init.Period = 3840;
	htim3.Init.ClockDivision = TIM_CLOCKDIVISION_DIV1;
	htim3.Init.AutoReloadPreload = TIM_AUTORELOAD_PRELOAD_DISABLE;
	if (HAL_TIM_Base_Init(&htim3) != HAL_OK) {
		_Error_Handler(__FILE__, __LINE__);
	}

	sClockSourceConfig.ClockSource = TIM_CLOCKSOURCE_INTERNAL;
	if (HAL_TIM_ConfigClockSource(&htim3, &sClockSourceConfig) != HAL_OK) {
		_Error_Handler(__FILE__, __LINE__);
	}

	sMasterConfig.MasterOutputTrigger = TIM_TRGO_UPDATE;
	sMasterConfig.MasterSlaveMode = TIM_MASTERSLAVEMODE_DISABLE;
	if (HAL_TIMEx_MasterConfigSynchronization(&htim3, &sMasterConfig)
			!= HAL_OK) {
		_Error_Handler(__FILE__, __LINE__);
	}

}

/* TIM4 init function */
static void MX_TIM4_Init(void) {

	TIM_ClockConfigTypeDef sClockSourceConfig;
	TIM_MasterConfigTypeDef sMasterConfig;

	htim4.Instance = TIM4;
	htim4.Init.Prescaler = 10000;
	htim4.Init.CounterMode = TIM_COUNTERMODE_UP;
	htim4.Init.Period = 65535;
	htim4.Init.ClockDivision = TIM_CLOCKDIVISION_DIV1;
	htim4.Init.AutoReloadPreload = TIM_AUTORELOAD_PRELOAD_DISABLE;
	if (HAL_TIM_Base_Init(&htim4) != HAL_OK) {
		_Error_Handler(__FILE__, __LINE__);
	}

	sClockSourceConfig.ClockSource = TIM_CLOCKSOURCE_INTERNAL;
	if (HAL_TIM_ConfigClockSource(&htim4, &sClockSourceConfig) != HAL_OK) {
		_Error_Handler(__FILE__, __LINE__);
	}

	sMasterConfig.MasterOutputTrigger = TIM_TRGO_RESET;
	sMasterConfig.MasterSlaveMode = TIM_MASTERSLAVEMODE_DISABLE;
	if (HAL_TIMEx_MasterConfigSynchronization(&htim4, &sMasterConfig)
			!= HAL_OK) {
		_Error_Handler(__FILE__, __LINE__);
	}

}

/* TIM6 init function */
static void MX_TIM6_Init(void) {

	TIM_MasterConfigTypeDef sMasterConfig;

	htim6.Instance = TIM6;
	htim6.Init.Prescaler = 1;
	htim6.Init.CounterMode = TIM_COUNTERMODE_UP;
	htim6.Init.Period = 500;
	htim6.Init.AutoReloadPreload = TIM_AUTORELOAD_PRELOAD_DISABLE;
	if (HAL_TIM_Base_Init(&htim6) != HAL_OK) {
		_Error_Handler(__FILE__, __LINE__);
	}

	sMasterConfig.MasterOutputTrigger = TIM_TRGO_UPDATE;
	sMasterConfig.MasterSlaveMode = TIM_MASTERSLAVEMODE_DISABLE;
	if (HAL_TIMEx_MasterConfigSynchronization(&htim6, &sMasterConfig)
			!= HAL_OK) {
		_Error_Handler(__FILE__, __LINE__);
	}

}

/* TIM7 init function */
static void MX_TIM7_Init(void) {

	TIM_MasterConfigTypeDef sMasterConfig;

	htim7.Instance = TIM7;
	htim7.Init.Prescaler = 1;
	htim7.Init.CounterMode = TIM_COUNTERMODE_UP;
	htim7.Init.Period = 1000;
	htim7.Init.AutoReloadPreload = TIM_AUTORELOAD_PRELOAD_DISABLE;
	if (HAL_TIM_Base_Init(&htim7) != HAL_OK) {
		_Error_Handler(__FILE__, __LINE__);
	}

	sMasterConfig.MasterOutputTrigger = TIM_TRGO_UPDATE;
	sMasterConfig.MasterSlaveMode = TIM_MASTERSLAVEMODE_DISABLE;
	if (HAL_TIMEx_MasterConfigSynchronization(&htim7, &sMasterConfig)
			!= HAL_OK) {
		_Error_Handler(__FILE__, __LINE__);
	}

}

/* TIM8 init function */
static void MX_TIM8_Init(void) {

	TIM_ClockConfigTypeDef sClockSourceConfig;
	TIM_MasterConfigTypeDef sMasterConfig;

	htim8.Instance = TIM8;
	htim8.Init.Prescaler = 1 - 1;
	htim8.Init.CounterMode = TIM_COUNTERMODE_UP;
	htim8.Init.Period = 1000;
	htim8.Init.ClockDivision = TIM_CLOCKDIVISION_DIV1;
	htim8.Init.RepetitionCounter = 0;
	htim8.Init.AutoReloadPreload = TIM_AUTORELOAD_PRELOAD_DISABLE;
	if (HAL_TIM_Base_Init(&htim8) != HAL_OK) {
		_Error_Handler(__FILE__, __LINE__);
	}

	sClockSourceConfig.ClockSource = TIM_CLOCKSOURCE_INTERNAL;
	if (HAL_TIM_ConfigClockSource(&htim8, &sClockSourceConfig) != HAL_OK) {
		_Error_Handler(__FILE__, __LINE__);
	}

	sMasterConfig.MasterOutputTrigger = TIM_TRGO_RESET;
	sMasterConfig.MasterOutputTrigger2 = TIM_TRGO2_RESET;
	sMasterConfig.MasterSlaveMode = TIM_MASTERSLAVEMODE_DISABLE;
	if (HAL_TIMEx_MasterConfigSynchronization(&htim8, &sMasterConfig)
			!= HAL_OK) {
		_Error_Handler(__FILE__, __LINE__);
	}

}

/* TIM15 init function */
static void MX_TIM15_Init(void) {

	TIM_ClockConfigTypeDef sClockSourceConfig;
	TIM_MasterConfigTypeDef sMasterConfig;

	htim15.Instance = TIM15;
	htim15.Init.Prescaler = 1 - 1;
	htim15.Init.CounterMode = TIM_COUNTERMODE_UP;
	htim15.Init.Period = 6000;
	htim15.Init.ClockDivision = TIM_CLOCKDIVISION_DIV1;
	htim15.Init.RepetitionCounter = 0;
	htim15.Init.AutoReloadPreload = TIM_AUTORELOAD_PRELOAD_DISABLE;
	if (HAL_TIM_Base_Init(&htim15) != HAL_OK) {
		_Error_Handler(__FILE__, __LINE__);
	}

	sClockSourceConfig.ClockSource = TIM_CLOCKSOURCE_INTERNAL;
	if (HAL_TIM_ConfigClockSource(&htim15, &sClockSourceConfig) != HAL_OK) {
		_Error_Handler(__FILE__, __LINE__);
	}

	sMasterConfig.MasterOutputTrigger = TIM_TRGO_UPDATE;
	sMasterConfig.MasterSlaveMode = TIM_MASTERSLAVEMODE_DISABLE;
	if (HAL_TIMEx_MasterConfigSynchronization(&htim15, &sMasterConfig)
			!= HAL_OK) {
		_Error_Handler(__FILE__, __LINE__);
	}

}

/* TSC init function */
static void MX_TSC_Init(void) {

	/**Configure the TSC peripheral
	 */
	htsc.Instance = TSC;
	htsc.Init.CTPulseHighLength = TSC_CTPH_5CYCLES;
	htsc.Init.CTPulseLowLength = TSC_CTPL_5CYCLES;
	htsc.Init.SpreadSpectrum = DISABLE;
	htsc.Init.SpreadSpectrumDeviation = 1;
	htsc.Init.SpreadSpectrumPrescaler = TSC_SS_PRESC_DIV1;
	htsc.Init.PulseGeneratorPrescaler = TSC_PG_PRESC_DIV32;
	htsc.Init.MaxCountValue = TSC_MCV_16383;
	htsc.Init.IODefaultMode = TSC_IODEF_IN_FLOAT;
	htsc.Init.SynchroPinPolarity = TSC_SYNC_POLARITY_FALLING;
	htsc.Init.AcquisitionMode = TSC_ACQ_MODE_NORMAL;
	htsc.Init.MaxCountInterrupt = DISABLE;
	htsc.Init.ChannelIOs = TSC_GROUP5_IO1 | TSC_GROUP5_IO2 | TSC_GROUP5_IO3
			| TSC_GROUP6_IO2 | TSC_GROUP6_IO3 | TSC_GROUP6_IO4;
	htsc.Init.ShieldIOs = TSC_GROUP3_IO4;
	htsc.Init.SamplingIOs = TSC_GROUP3_IO3 | TSC_GROUP5_IO4 | TSC_GROUP6_IO1;
	if (HAL_TSC_Init(&htsc) != HAL_OK) {
		_Error_Handler(__FILE__, __LINE__);
	}

}

static void MX_DMA_Init(void) {
	/* DMA controller clock enable */
	__HAL_RCC_DMA2_CLK_ENABLE()
	;
	__HAL_RCC_DMA1_CLK_ENABLE()
	;

	/* DMA interrupt init */
	/* DMA1_Channel1_IRQn interrupt configuration */
	HAL_NVIC_SetPriority(DMA1_Channel1_IRQn, 1, 1);
	HAL_NVIC_EnableIRQ(DMA1_Channel1_IRQn);
	/* DMA2_Channel1_IRQn interrupt configuration */
	HAL_NVIC_SetPriority(DMA2_Channel1_IRQn, 2, 0);
	HAL_NVIC_EnableIRQ(DMA2_Channel1_IRQn);
	/* DMA2_Channel5_IRQn interrupt configuration */
	HAL_NVIC_SetPriority(DMA2_Channel5_IRQn, 1, 0);
	HAL_NVIC_EnableIRQ(DMA2_Channel5_IRQn);

}

/** Configure pins as
 * Analog
 * Input
 * Output
 * EVENT_OUT
 * EXTI
 */
static void MX_GPIO_Init(void) {

	GPIO_InitTypeDef GPIO_InitStruct;

	/* GPIO Ports Clock Enable */
	__HAL_RCC_GPIOC_CLK_ENABLE()
	;
	__HAL_RCC_GPIOF_CLK_ENABLE()
	;
	__HAL_RCC_GPIOA_CLK_ENABLE()
	;
	__HAL_RCC_GPIOB_CLK_ENABLE()
	;

	/*Configure GPIO pin Output Level */
	HAL_GPIO_WritePin(GPIOC, EOA_Pin | ATTACK_GATE_Pin | EOR_Pin,
			GPIO_PIN_RESET);

	/*Configure GPIO pin Output Level */
	HAL_GPIO_WritePin(GPIOB,
			C_LED_Pin | D_LED_Pin | B_LED_Pin | S_H_A_Pin | S_H_B_Pin,
			GPIO_PIN_RESET);

	/*Configure GPIO pin Output Level */
	HAL_GPIO_WritePin(GPIOA, GPIO_PIN_12, GPIO_PIN_RESET);

	/*Configure GPIO pins : EOA_Pin ATTACK_GATE_Pin EOR_Pin */
	GPIO_InitStruct.Pin = EOA_Pin | ATTACK_GATE_Pin | EOR_Pin;
	GPIO_InitStruct.Mode = GPIO_MODE_OUTPUT_PP;
	GPIO_InitStruct.Pull = GPIO_NOPULL;
	GPIO_InitStruct.Speed = GPIO_SPEED_FREQ_LOW;
	HAL_GPIO_Init(GPIOC, &GPIO_InitStruct);

	/*Configure GPIO pins : C_LED_Pin D_LED_Pin B_LED_Pin S_H_A_Pin
	 S_H_B_Pin */
	GPIO_InitStruct.Pin = C_LED_Pin | D_LED_Pin | B_LED_Pin | S_H_A_Pin
			| S_H_B_Pin;
	GPIO_InitStruct.Mode = GPIO_MODE_OUTPUT_PP;
	GPIO_InitStruct.Pull = GPIO_NOPULL;
	GPIO_InitStruct.Speed = GPIO_SPEED_FREQ_LOW;
	HAL_GPIO_Init(GPIOB, &GPIO_InitStruct);

	/*Configure GPIO pins : PA11 PA12 */
	GPIO_InitStruct.Pin = GPIO_PIN_12;
	GPIO_InitStruct.Mode = GPIO_MODE_OUTPUT_PP;
	GPIO_InitStruct.Pull = GPIO_NOPULL;
	GPIO_InitStruct.Speed = GPIO_SPEED_FREQ_LOW;
	HAL_GPIO_Init(GPIOA, &GPIO_InitStruct);

	GPIO_InitStruct.Pin = GPIO_PIN_11;
	GPIO_InitStruct.Mode = GPIO_MODE_OUTPUT_PP;
	GPIO_InitStruct.Pull = GPIO_PULLUP;
	GPIO_InitStruct.Speed = GPIO_SPEED_FREQ_LOW;
	HAL_GPIO_Init(GPIOA, &GPIO_InitStruct);

}

/* USER CODE BEGIN 4 */
void restoreState(){
	ee_status = EE_ReadVariable(VirtAddVarTab[0], &VarDataTab[0]);
	holdState = VarDataTab[0];
	//holdState = 0;
	loop = holdState & 0x01;
	speed = (holdState & 0x06) >> 1;
	trigMode = (holdState & 0x38) >> 3;
	sampleHoldMode = (holdState & 0x1C0) >> 6;
	familyIndicator = (holdState & 0xE00) >> 9;
	logicOutA = (holdState & 0x3000) >> 12;
	logicOutB = (holdState & 0xC000) >> 14;

	if (speed < 2) {
		attackTime = calcTime1Env;
		releaseTime = calcTime2Env;
	}
	if (speed == seq) {
		TIM6->ARR = 2000;
		attackTime = calcTime1Seq;
		releaseTime = calcTime2Seq;
	}

	incSign = 1;

	SH_A_TRACK
	SH_B_TRACK

	switchFamily();

	if (loop == looping) {
		SET_OSCILLATOR_ACTIVE;
		CLEAR_LAST_CYCLE;
	}

	switch (logicOutA) {
	case 0:
		SET_GATEA;
		CLEAR_TRIGA;
		CLEAR_DELTAA;
		break;
	case 1:
		CLEAR_GATEA;
		SET_TRIGA;
		CLEAR_DELTAA;
		break;
	case 2:
		CLEAR_GATEA;
		CLEAR_TRIGA;
		SET_DELTAA;
		break;
	}

	switch (logicOutB) {
	case 0:
		SET_GATEB;
		CLEAR_TRIGB;
		CLEAR_DELTAB;
		break;
	case 1:
		CLEAR_GATEB;
		SET_TRIGB;
		CLEAR_DELTAB;
		break;
	case 2:
		CLEAR_GATEB;
		CLEAR_TRIGB;
		SET_DELTAB;
		break;
	}

	if (speed == audio && loop == noloop) {
		//since this parameter can throw us into drum mode, initialize the proper modulation flags per trigger mode
		SET_DRUM_MODE;
		TIM6->ARR = 750;
		switch (trigMode) {
		case 0:
			SET_AMP_MOD;
			SET_PITCH_MOD;
			SET_MORPH_MOD;
			break;
		case 1:
			SET_AMP_MOD;
			CLEAR_PITCH_MOD;
			SET_MORPH_MOD;
			break;
		case 2:
			SET_AMP_MOD;
			CLEAR_PITCH_MOD;
			CLEAR_MORPH_MOD;
			break;
		case 3:
			CLEAR_AMP_MOD;
			CLEAR_PITCH_MOD;
			SET_MORPH_MOD;
			break;
		case 4:
			CLEAR_AMP_MOD;
			SET_PITCH_MOD;
			SET_MORPH_MOD;
			break;

		case 5:
			CLEAR_AMP_MOD;
			SET_PITCH_MOD;
			CLEAR_MORPH_MOD;
			break;
		}
}

		// set the appropriate time calculation functions

}

/* USER CODE END 4 */

void _Error_Handler(char * file, int line) {
	while (1) {
	}
}

/************************ (C) COPYRIGHT STMicroelectronics *****END OF FILE****/
